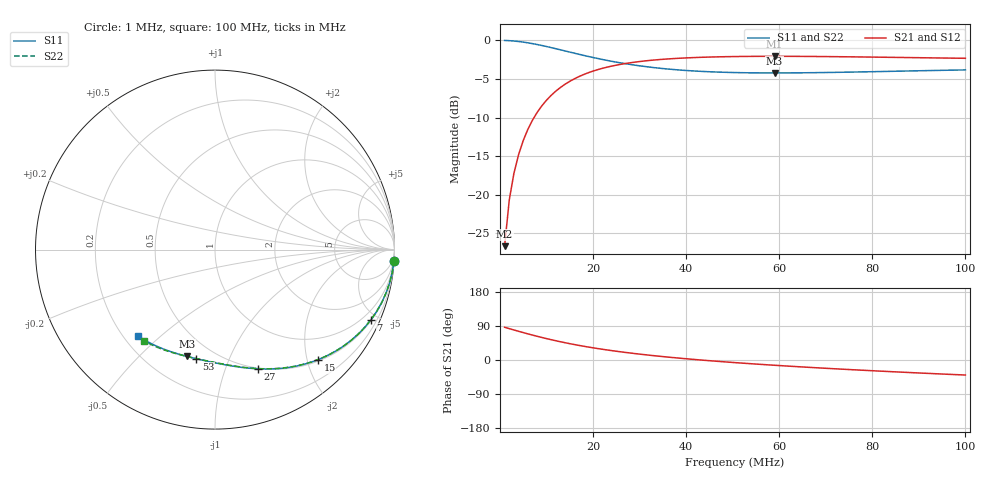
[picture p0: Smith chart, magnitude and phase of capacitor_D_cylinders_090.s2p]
!Created with skrf (http://scikit-rf.org).
# MHz S RI R 50.0
!freq ReS11 ImS11 ReS21 ImS21 ReS12 ImS12 ReS22 ImS22
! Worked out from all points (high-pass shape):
!   100 points, 1 MHz to 100 MHz, reference 50 ohm
!   highest |S21| = -2.06 dB at 59 MHz (marker M1); lowest = -26.7 dB at 1 MHz (marker M2)
!   |S21| within 3 dB of the highest: 15.74 MHz to end of sweep
!   lowest |S11| = -4.2 dB at 59 MHz (marker M3), VSWR 4.20, Z = 18.4 - j35.2 ohm
!   |S11| at or under -10 dB: nowhere
!   |S22| runs from -4.2 to 0.0 dB; largest |S21 - S12| = 5.7e-15
!   S11 on the Smith chart (normalised r, x): 1 MHz: 1, -32; 7 MHz: 0.54, -4.58; 15 MHz: 0.53, -2.20; 27 MHz: 0.49, -1.30; 53 MHz: 0.39, -0.77; 100 MHz: 0.26, -0.42
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1  0.997 -0.0627  0.00291 0.0463  0.00291 0.0463  0.997 -0.0626
! Port Impedance 50.00000000000000 0.00000000000000 50.00000000000000 0.00000000000000
2  0.9879 -0.1244  0.0115 0.0916  0.0115 0.0916  0.9879 -0.1243
3  0.9732 -0.1843  0.0256 0.1351  0.0256 0.1351  0.9732 -0.1841
4  0.9532 -0.2416  0.0446 0.1761  0.0446 0.1761  0.9533 -0.2413
5  0.9286 -0.2956  0.068 0.2137  0.068 0.2137  0.9287 -0.2953
6  0.9 -0.3459  0.0951 0.2477  0.0951 0.2477  0.9002 -0.3454
7  0.8682 -0.392  0.1252 0.2775  0.1252 0.2775  0.8684 -0.3915
9  0.7976 -0.4712  0.1914 0.3243  0.1914 0.3243  0.798 -0.4706
11  0.7224 -0.5333  0.2613 0.3543  0.2613 0.3543  0.7229 -0.5326
13  0.6467 -0.58  0.3305 0.369  0.3305 0.369  0.6475 -0.5791
15  0.5735 -0.6135  0.3962 0.371  0.3962 0.371  0.5746 -0.6125
18  0.4723 -0.6448  0.4844 0.3557  0.4844 0.3557  0.4738 -0.6437
22  0.356 -0.6627  0.5799 0.3129  0.5799 0.3129  0.3584 -0.6614
27  0.239 -0.6642  0.6658 0.2416  0.6658 0.2416  0.2425 -0.6629
34  0.1149 -0.6515  0.7379 0.1334  0.7379 0.1334  0.1205 -0.6505
42  0.00883 -0.6326  0.7742 0.016  0.7742 0.016  0.0173 -0.6325
51  -0.085 -0.6124  0.7796 -0.1004  0.7796 -0.1004  -0.0729 -0.6139
53  -0.1035 -0.608  0.7773 -0.1239  0.7773 -0.1239  -0.0906 -0.6101
59  -0.1556 -0.5951  0.7653 -0.1894  0.7653 -0.1894  -0.1399 -0.599
67  -0.2187 -0.5774  0.7402 -0.2663  0.7402 -0.2663  -0.1992 -0.5844
84  -0.3358 -0.5332  0.6675 -0.3967  0.6675 -0.3967  -0.3079 -0.5498
100  -0.4286 -0.48  0.5889 -0.4889  0.5889 -0.4889  -0.3929 -0.5097
